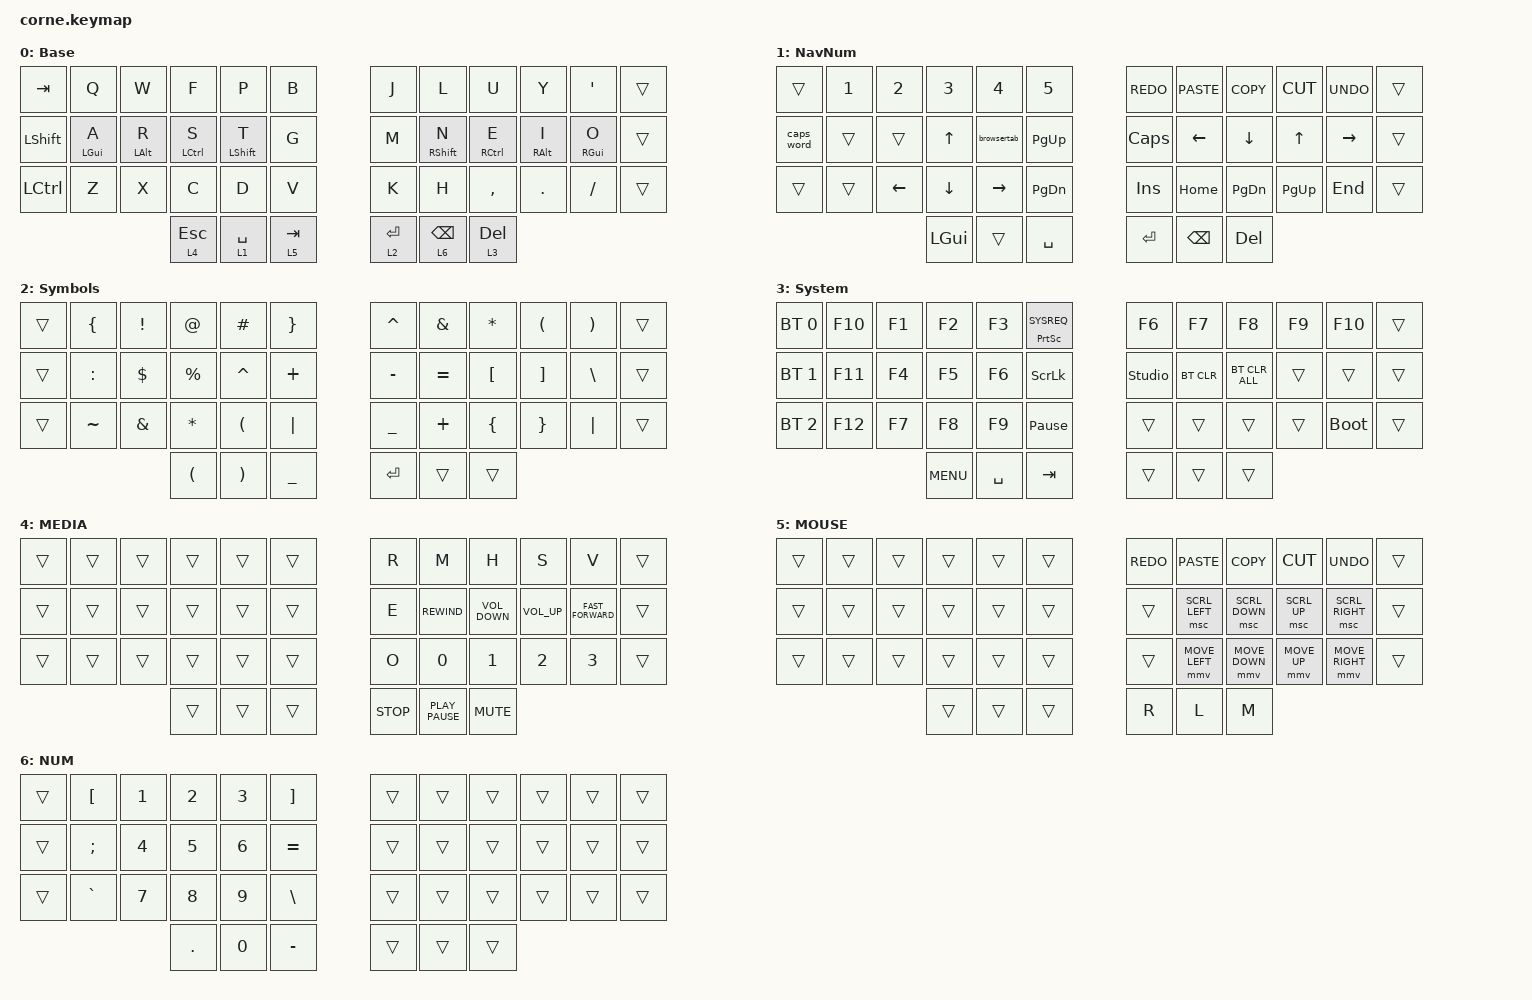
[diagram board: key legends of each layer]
#include <behaviors.dtsi>
#include <dt-bindings/zmk/bt.h>
#include <dt-bindings/zmk/keys.h>
#include <dt-bindings/zmk/pointing.h>

#define DEF 0
#define NAV 1
#define SYM 2
#define ADJ 3
#define EXTRA 4

/ {
    behaviors {
        hm: homerow_mods {
            compatible = "zmk,behavior-hold-tap";
            #binding-cells = <2>;
            tapping-term-ms = <200>;
            flavor = "tap-preferred";
            bindings = <&kp>, <&kp>;

            quick-tap-ms = <180>;
            require-prior-idle-ms = <120>; /* tune to taste */
        };

        para: para {
            compatible = "zmk,behavior-tap-dance";
            #binding-cells = <0>;
            bindings = <&kp LEFT_PARENTHESIS>, <&kp RIGHT_PARENTHESIS>;
        };

        caps: caps {
            compatible = "zmk,behavior-caps-word";
            #binding-cells = <0>;
            continue-list = <MINUS BACKSPACE>;
        };

        paraless: paraless {
            compatible = "zmk,behavior-mod-morph";
            bindings = <&kp LEFT_PARENTHESIS>, <&kp LESS_THAN>;

            #binding-cells = <0>;
            mods = <(MOD_LSFT)>;
        };

        paragreat: paragreat {
            compatible = "zmk,behavior-mod-morph";
            bindings = <&kp RIGHT_PARENTHESIS>, <&kp GREATER_THAN>;

            #binding-cells = <0>;
            mods = <(MOD_LSFT)>;
        };
    };

    macros {
        browsertab: browsertab {
            compatible = "zmk,behavior-macro";
            #binding-cells = <0>;
            bindings =
                <&macro_press>,
                <&kp LCTRL>,
                <&macro_tap>,
                <&kp TAB>,
                <&macro_release>,
                <&kp LCTRL>;
        };
    };

    combos {
        compatible = "zmk,combos";

        escape {
            bindings = <&kp ESCAPE>;
            key-positions = <13 29>;
        };

        delete {
            bindings = <&kp DELETE>;
            key-positions = <15 21>;
        };

        perc {
            bindings = <&kp PERCENT>;
            key-positions = <5 17>;
            layers = <0>;
        };

        equal {
            bindings = <&kp EQUAL>;
            key-positions = <28 16>;
            layers = <0>;
        };

        dollar {
            bindings = <&kp DOLLAR>;
            key-positions = <4 16>;
            layers = <0>;
        };

        pound {
            bindings = <&kp POUND>;
            key-positions = <3 15>;
            layers = <0>;
        };

        at {
            bindings = <&kp AT>;
            key-positions = <2 14>;
            layers = <0>;
        };

        backslash {
            bindings = <&kp BACKSLASH>;
            key-positions = <26 14>;
            layers = <0>;
        };

        star {
            bindings = <&kp STAR>;
            key-positions = <8 20>;
            layers = <0>;
        };

        slash {
            bindings = <&kp SLASH>;
            key-positions = <32 20>;
            layers = <0>;
        };

        plus {
            bindings = <&kp PLUS>;
            key-positions = <7 19>;
            layers = <0>;
        };

        minus {
            bindings = <&kp KP_MINUS>;
            key-positions = <31 19>;
            layers = <0>;
        };

        underscore {
            bindings = <&kp UNDER>;
            key-positions = <30 18>;
            layers = <0>;
        };

        leftbrack {
            bindings = <&kp LEFT_BRACKET>;
            key-positions = <31 32>;
            layers = <0>;
        };

        rightbrack {
            bindings = <&kp RIGHT_BRACKET>;
            key-positions = <33 32>;
            layers = <0>;
        };

        para-less {
            bindings = <&paraless>;
            key-positions = <20 19>;
            layers = <0>;
        };

        para-great {
            bindings = <&paragreat>;
            key-positions = <20 21>;
            layers = <0>;
        };
    };

    //

    keymap {
        compatible = "zmk,keymap";

        DEF {
            display-name = "Base";

            // -----------------------------------------------------------------------------------------
            // |  Q  |  W  |  E  |  R  |  T  |   |  Y  |  U   |  I  |  O  |  P  |
            // |  A  |  S  |  D  |  F  |  G  |   |  H  |  J   |  K  |  L  |  ;  |
            // |  Z  |  X  |  C  |  V  |  B  |   |  N  |  M   |  ,  |  .  |  /  |
            // | GUI | CTRL | SHFT | LWR | SPC |   | ENT | RSE  | BKSP | ALT | ESC |

            bindings = <
&kp TAB    &kp Q           &kp W           &kp F         &kp P         &kp B        &kp J        &kp L            &kp U         &kp Y            &kp SQT          &trans
&kp LSHFT  &mt LEFT_GUI A  &mt LEFT_ALT R  &mt LCTRL S   &mt LSHIFT T  &kp G        &kp M        &mt RSHFT N      &mt RCTRL E   &mt RIGHT_ALT I  &mt RIGHT_GUI O  &trans
&kp LCTRL  &kp Z           &kp X           &kp C         &kp D         &kp V        &kp K        &kp H            &kp COMMA     &kp DOT          &kp FSLH         &trans
                                           &lt 4 ESCAPE  &lt 1 SPACE   &lt 5 TAB    &lt 2 ENTER  &lt 6 BACKSPACE  &lt 3 DELETE
            >;
        };

        NAV {
            display-name = "NavNum";

            // -----------------------------------------------------------------------------------------
            // |  TAB |  1  |  2  |  3  |  4  |  5  |   |  6  |  7  |  8  |  9  |  0  | BKSP |
            // | BTCLR| BT1 | BT2 | BT3 | BT4 | BT5 |   | LFT | DWN |  UP | RGT |     |      |
            // | SHFT |     |     |     |     |     |   |     |     |     |     |     |      |
            // | GUI | CTRL | SHFT | LWR | SPC |   | ENT | RSE  | BKSP | ALT | ESC |

            bindings = <
&trans      &kp N1  &kp N2    &kp N3        &kp N4           &kp N5           &kp K_REDO    &kp K_PASTE    &kp K_COPY     &kp K_CUT     &kp K_UNDO  &trans
&caps_word  &trans  &trans    &kp UP_ARROW  &browsertab      &kp PAGE_UP      &kp CAPSLOCK  &kp LEFT       &kp DOWN       &kp UP_ARROW  &kp RIGHT   &trans
&trans      &trans  &kp LEFT  &kp DOWN      &kp RIGHT_ARROW  &kp PAGE_DOWN    &kp INSERT    &kp HOME       &kp PAGE_DOWN  &kp PAGE_UP   &kp END     &trans
                              &kp LGUI      &trans           &kp SPACE        &kp RET       &kp BACKSPACE  &kp DELETE
            >;
        };

        SYM {
            display-name = "Symbols";

            // -----------------------------------------------------------------------------------------
            // |  TAB |  !  |  @  |  #  |  $  |  %  |   |  ^  |  &  |  *  |  (  |  )  | BKSP |
            // | CTRL |     |     |     |     |     |   |  -  |  =  |  [  |  ]  |  \  |  `   |
            // | SHFT |     |     |     |     |     |   |  _  |  +  |  {  |  }  | "|" |  ~   |
            //                    | GUI |     | SPC |   | ENT |     | ALT |

            bindings = <
&trans  &kp LEFT_BRACE  &kp EXCL    &kp AT                &kp HASH               &kp RIGHT_BRACE    &kp CARET  &kp AMPS   &kp ASTRK  &kp LEFT_PARENTHESIS  &kp RPAR  &trans
&trans  &kp COLON       &kp DOLLAR  &kp PERCENT           &kp CARET              &kp PLUS           &kp MINUS  &kp EQUAL  &kp LBKT   &kp RBKT              &kp BSLH  &trans
&trans  &kp TILDE       &kp AMPS    &kp STAR              &kp LEFT_PARENTHESIS   &kp PIPE           &kp UNDER  &kp PLUS   &kp LBRC   &kp RBRC              &kp PIPE  &trans
                                    &kp LEFT_PARENTHESIS  &kp RIGHT_PARENTHESIS  &kp UNDERSCORE     &kp RET    &trans     &trans
            >;
        };

        ADJ {
            display-name = "System";
            bindings = <
&bt BT_SEL 0  &kp F10  &kp F1  &kp F2      &kp F3     &mt PRINTSCREEN SYSREQ    &kp F6          &kp F7      &kp F8          &kp F9  &kp F10      &trans
&bt BT_SEL 1  &kp F11  &kp F4  &kp F5      &kp F6     &kp SCROLLLOCK            &studio_unlock  &bt BT_CLR  &bt BT_CLR_ALL  &trans  &trans       &trans
&bt BT_SEL 2  &kp F12  &kp F7  &kp F8      &kp F9     &kp PAUSE_BREAK           &trans          &trans      &trans          &trans  &bootloader  &trans
                               &kp C_MENU  &kp SPACE  &kp TAB                   &trans          &trans      &trans
            >;
        };

        MEDIA {
            bindings = <
&trans  &trans  &trans  &trans  &trans  &trans    &kp R       &kp M             &kp H              &kp S            &kp V               &trans
&trans  &trans  &trans  &trans  &trans  &trans    &kp E       &kp C_REWIND      &kp K_VOLUME_DOWN  &kp C_VOLUME_UP  &kp C_FAST_FORWARD  &trans
&trans  &trans  &trans  &trans  &trans  &trans    &kp O       &kp N0            &kp NUMBER_1       &kp NUMBER_2     &kp NUMBER_3        &trans
                        &trans  &trans  &trans    &kp K_STOP  &kp K_PLAY_PAUSE  &kp K_MUTE
            >;
        };

        MOUSE {
            bindings = <
&trans  &trans  &trans  &trans  &trans  &trans    &kp K_REDO  &kp K_PASTE     &kp K_COPY      &kp K_CUT     &kp K_UNDO       &trans
&trans  &trans  &trans  &trans  &trans  &trans    &trans      &msc SCRL_LEFT  &msc SCRL_DOWN  &msc SCRL_UP  &msc SCRL_RIGHT  &trans
&trans  &trans  &trans  &trans  &trans  &trans    &trans      &mmv MOVE_LEFT  &mmv MOVE_DOWN  &mmv MOVE_UP  &mmv MOVE_RIGHT  &trans
                        &trans  &trans  &trans    &kp R       &kp L           &kp M
            >;
        };

        NUM {
            bindings = <
&trans  &kp LEFT_BRACKET  &kp NUMBER_1  &kp NUMBER_2  &kp NUMBER_3  &kp RIGHT_BRACKET    &trans  &trans  &trans  &trans  &trans  &trans
&trans  &kp SEMICOLON     &kp NUMBER_4  &kp NUMBER_5  &kp NUMBER_6  &kp EQUAL            &trans  &trans  &trans  &trans  &trans  &trans
&trans  &kp GRAVE         &kp NUMBER_7  &kp NUMBER_8  &kp NUMBER_9  &kp BACKSLASH        &trans  &trans  &trans  &trans  &trans  &trans
                                        &kp PERIOD    &kp NUMBER_0  &kp MINUS            &trans  &trans  &trans
            >;
        };
    };
};
